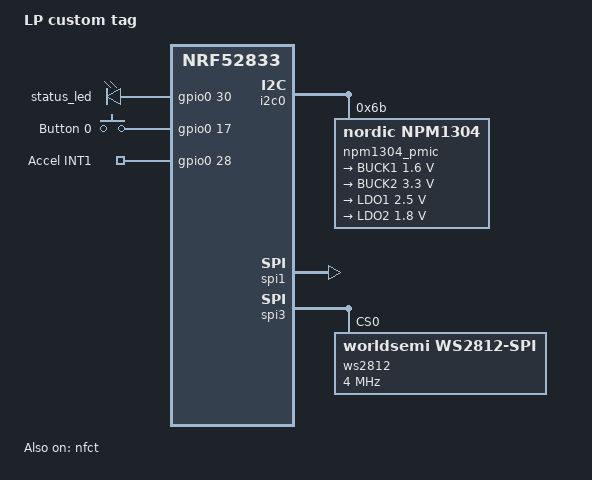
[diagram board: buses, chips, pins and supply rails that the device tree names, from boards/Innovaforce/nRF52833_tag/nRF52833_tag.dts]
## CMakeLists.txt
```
cmake_minimum_required(VERSION 3.20.0)
find_package(Zephyr REQUIRED HINTS $ENV{ZEPHYR_BASE})

project(tag_testting)

target_sources(app PRIVATE
    src/main.c
    src/ble_log.c
    src/batt.c
    src/batt_curve.c
    src/batt_window.c
    src/lis2hh12_if.c
    src/uwb.c
    src/nfc_tag.c
    src/phy_config.c
    src/cal_math.c
    src/cal.c
    src/storage.c
    src/pos_solver.c
    src/pos_residual.c
    src/pos_ekf.c
    src/pos_cfg.c
    # TEMPORARY: raw-range capture for EKF tuning. Delete this line with the
    # module -- see spec/2026-08-22-position-filtering-design.md.
    src/pos_dbg.c
    src/uwb_ss_initiator.c
    src/tag_alert.c
    src/motion.c
    src/tag_ui.c
    src/tag_ui_color.c
    src/uwb_frame_802_15_4z.c
    src/alert_relay.c
    src/tag_alert_core.c
    src/uwb_net.c
    src/uwb_net_runner.c
    src/anchor_pool_core.c
    src/uwb_radio_owner.c
    src/tag_cmd.c
    src/rx_stats_core.c
    src/rx_stats.c
    src/beacon_track_core.c
    src/beacon_sched_core.c
    src/scan_backoff_core.c
    src/wdt.c
    drivers/lis2hh12-pid/lis2hh12_reg.c
    platform/port.c
    platform/deca_spi.c
    platform/deca_probe_interface.c
    platform/deca_mutex.c
    platform/deca_sleep.c
)

target_sources_ifdef(CONFIG_TAG_CAL_MODE app PRIVATE
    src/cal_diag.c
    src/cal_led.c
    src/cal_run_math.c
    src/cal_run.c
)

target_include_directories(app PRIVATE
    drivers/lis2hh12-pid
    platform
    Shared/dwt_uwb_driver/Inc
)

# The precompiled Decawave archive registers per-chip drivers into the
# .dw_drivers linker section via static objects. Nothing in app code references
# them directly, so the linker would skip those .o files and the section ends
# up empty. Force-pull dw3000_driver via --undefined; this drags in its .o
# (and the .dw_drivers entries it carries) without --whole-archive.
add_library(dwt_uwb_driver STATIC IMPORTED GLOBAL)
set_target_properties(dwt_uwb_driver PROPERTIES
    IMPORTED_LOCATION
    ${CMAKE_CURRENT_SOURCE_DIR}/Shared/dwt_uwb_driver/lib/libdwt_uwb_driver-m4-sfp-6.0.7.a
)
target_link_libraries(app PRIVATE
    dwt_uwb_driver
)
zephyr_ld_options(-Wl,--undefined=dw3000_driver)

zephyr_linker_sources(SECTIONS ${CMAKE_CURRENT_SOURCE_DIR}/dw_drivers.ld)
```

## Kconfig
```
menu "Tag firmware"

config TAG_CAL_MODE
	bool "Antenna-delay calibration firmware"
	help
	  Build the calibration image instead of the production tag.

	  main() does not start the MAC runner, so nothing opens the receiver
	  and nothing deep-sleeps the DW3000: the image is idle until a `cal`
	  command arrives over NUS. Adds `cal listen` and `cal probe`.

	  Never ship this. It holds no network seat and reports no position.

config TAG_SWEEP_TIMING
	bool "Measure MULTI-POLL through EA (bench only)"
	depends on PRINTK
	help
	  Emit one timing record after each sweep. Suppresses hot-path
	  SWEEP/MPOL printk probes. Does not change radio deadlines.

endmenu

source "Kconfig.zephyr"
```

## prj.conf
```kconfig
CONFIG_BT=y
CONFIG_BT_HCI=y
CONFIG_BT_PERIPHERAL=y
CONFIG_BT_DEVICE_NAME="nRF52_Tag"
CONFIG_BT_NUS=y
CONFIG_I2C=y
CONFIG_SENSOR=y
# nPM1304 PMIC: needed so the BUCK/LDO rails are applied at boot.
CONFIG_REGULATOR=y
# nPM1304 LED0 in hardware "charging" mode; the driver only writes the mode
# register at init, nothing calls into it at runtime.
CONFIG_LED=y
CONFIG_NFC_T4T_NRFXLIB=y
CONFIG_NFC_NDEF=y
CONFIG_NFC_NDEF_MSG=y
CONFIG_NFC_NDEF_RECORD=y
CONFIG_NFC_NDEF_URI_REC=y
CONFIG_NFC_NDEF_URI_MSG=y
CONFIG_NFC_NDEF_PARSER=y
CONFIG_FLASH=y
CONFIG_FLASH_MAP=y
CONFIG_NVS=y
CONFIG_GPIO=y
CONFIG_FPU=y
# Soft-float calling convention: the FPU still runs the LLS math, but float args
# pass in core registers so the image links against the soft-float precompiled
# DW3000 driver (libdwt_uwb_driver-m4-sfp). FP_HARDABI breaks that link.
CONFIG_FP_SOFTABI=y
CONFIG_CMSIS_DSP=y
CONFIG_CMSIS_DSP_MATRIX=y
CONFIG_WATCHDOG=y
CONFIG_TASK_WDT=y
# Fill thread stacks with a pattern at creation so k_thread_stack_space_get()
# can report a high-water mark (the `stack` NUS command). Diagnostic aid for the
# deep calibration path; costs a little boot time. Drop it once the calibration
# stack question is settled.
CONFIG_INIT_STACKS=y
# CONFIG_ASSERT is deliberately NOT enabled here; it lives in debug.conf.
#
# It did its job -- it is how the calibration crash was pinned down -- but it
# cannot stay on in this firmware as it stands. dwt_isr() runs in the GPIO ISR
# and reaches the DW3000 through readfromspi()/writetospi(), which call
# k_mutex_lock() and spi_transceive(). Both carry an UNCONDITIONAL
# __ASSERT(!arch_is_in_isr(), ...) that sits above their non-blocking fast
# paths, so with asserts on, every single DW3000 interrupt panics the kernel.
# Moving dwt_isr() out of the ISR to satisfy them was tried and reverted: it
# cut accepted ranges to 1 in 100 (see deca_irq_handler in platform/port.c).
#
# What makes the ISR path safe in practice is that spi_mutex is never
# contended: wait_event() drains the device with the IRQ masked and only arms
# it while parked in k_sem_take(), where the thread holds no SPI state. The
# uncontended k_mutex_lock() fast path never pends. That is a real invariant,
# not luck -- but it is an invariant the assert cannot see.
#
# The proper fix is an ISR-safe SPI path (polled transfer when k_is_in_isr()),
# after which this can be turned back on permanently.
# DISABLED 2026-09-08. Power management made the tag miss beacons while
# sleeping on the TDoA branch, and the same console shows three
# "pm_device: Unbalanced suspend" warnings every superframe here. It is NOT
# the cause of the JOIN transmit failure fixed on this branch -- that was a
# receiver left armed by uwb_radio_rx_beacon()'s timeout path, and disabling
# PM was tested against it and changed nothing -- but with the tag now
# actually sleeping between granted phases, missed beacons are exactly the
# failure mode PM produced before. Re-enable only with beacon-miss counts
# measured on hardware, and note CONFIG_PM never actually took effect even
# when set: it reads absent from the generated .config, so the paragraphs
# below describe behaviour that was not happening.
# CONFIG_PM=y
# CONFIG_PM alone never touches the peripherals: without PM_DEVICE the
# `pinctrl-1 = <&..._sleep>` states already defined in the board DTS are dead
# text and SPIM3 / TWIM0 stay clocked forever. PM_DEVICE_RUNTIME is what makes
# the nrfx SPIM/TWIM drivers suspend between transfers -- they already call
# pm_device_runtime_get/put around every transaction; the DTS
# `zephyr,pm-device-runtime-auto` on &spi3 and &i2c0 is what arms it.
#
# SPI1 (DW3000) deliberately does NOT get the DTS property: its path is driven
# from the GPIO ISR via dwt_isr(), and suspend/resume is not safe there.
# pm_device_runtime_get() is a no-op on a device that never had runtime PM
# enabled, so leaving the property off is enough to keep SPI1 exactly as it is.
# Disabled with CONFIG_PM above -- these two are the ones that were actually
# in effect, and the source of the "Unbalanced suspend" warnings.
# CONFIG_PM_DEVICE=y
# CONFIG_PM_DEVICE_RUNTIME=y
```

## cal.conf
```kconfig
CONFIG_TAG_CAL_MODE=y

# A halt during a calibration run must stay halted. task_wdt's hardware
# fallback (TASK_WDT_MIN_TIMEOUT 100 + TASK_WDT_HW_FALLBACK_DELAY 20) arms the
# nRF52833 watchdog at ~120 ms, so the last time `cal` faulted the reset looked
# like an instant reboot and hid the crash entirely.
CONFIG_TASK_WDT=n
CONFIG_WATCHDOG=n
```

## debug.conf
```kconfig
# Debug overlay — build with:
#   west build -b nRF52833_tag -- -DEXTRA_CONF_FILE=debug.conf
#
# Purpose: make the firmware survivable under a debugger. Do NOT ship this.

# The blocker for GDB. tag_wdt_start_boot_guard() registers a task_wdt channel
# with a NULL callback, and Zephyr's task_wdt_trigger() answers an expired
# channel with sys_reboot(SYS_REBOOT_COLD). Halting at a breakpoint for longer
# than the 10 s channel therefore reboots the tag as soon as it resumes, so the
# debugger only ever prints "external reset detected" and no breakpoint is
# reached. (The ~120 ms hardware fallback does pause while halted, via
# WDT_OPT_PAUSE_HALTED_BY_DBG — it is this software channel that does not.)
# src/wdt.c compiles the whole boot guard out when this is n.
CONFIG_TASK_WDT=n
CONFIG_WATCHDOG=n

# WARNING: with dwt_isr() dispatched from the GPIO ISR, CONFIG_ASSERT=y makes
# EVERY DW3000 interrupt panic the kernel -- k_mutex_lock() and spi_transceive()
# both carry an unconditional __ASSERT(!arch_is_in_isr(), ...) above their
# non-blocking fast paths. So this build cannot range. It is still the right
# build for catching a *different* illegal-API bug, or for GDB work where the
# radio does not need to run. For anything involving ranging or calibration,
# build without this overlay. See the long note in prj.conf.
CONFIG_ASSERT=y
CONFIG_INIT_STACKS=y

# Callee-saved registers in the exception frame. Costs a little RAM per fault
# but makes a post-mortem backtrace far more likely to unwind correctly.
CONFIG_EXTRA_EXCEPTION_INFO=y
```

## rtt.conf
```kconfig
# RTT console overlay — build with:
#   west build -b nRF52833_tag --pristine -d build_rtt -- "-DEXTRA_CONF_FILE=rtt.conf"
#
# Purpose: see the tag's boot. The board defconfig turns the console off
# entirely (CONFIG_SERIAL/CONSOLE/UART_CONSOLE/LOG all =n) and the DTS has no
# zephyr,console chosen node, so UART is not available without pin work. RTT
# rides the SWD link the J-Link runner already uses, so it needs no extra
# wiring. Read it with JLinkRTTViewer.
#
# This is deliberately NOT debug.conf. That overlay sets CONFIG_ASSERT=y, which
# — by its own warning — makes every DW3000 interrupt panic the kernel, because
# dwt_isr() runs from the GPIO ISR and k_mutex_lock()/spi_transceive() both
# assert !arch_is_in_isr(). A build with debug.conf cannot range, so it cannot
# be used to diagnose a radio that is failing to receive.

CONFIG_CONSOLE=y
CONFIG_PRINTK=y
CONFIG_USE_SEGGER_RTT=y
CONFIG_RTT_CONSOLE=y

CONFIG_LOG=y
CONFIG_LOG_BACKEND_RTT=y
# Immediate mode: a bring-up failure ends in k_sleep(K_FOREVER), and a deferred
# backend's flush thread may never run to drain the message that explains why.
CONFIG_LOG_MODE_IMMEDIATE=y

# The boot guard registers a task_wdt channel with a NULL callback, so an
# expired channel reboots cold. On the uwb_init() failure path main() never
# reaches tag_wdt_run_feeder(), so the channel always expires: the tag reboots
# roughly every 10 s and the failure scrolls past instead of standing still.
CONFIG_TASK_WDT=n
CONFIG_WATCHDOG=n

# NOTE: power management was tested here as the cause of TXFRS never arriving
# and RULED OUT -- CONFIG_PM/PM_DEVICE/PM_DEVICE_RUNTIME=n changed nothing, the
# transmit still failed on every attempt. Left out deliberately so this overlay
# does not perturb power behaviour. The "pm_device: Unbalanced suspend" warnings
# are real but unrelated to the transmit fault; they were merely invisible until
# this overlay turned logging on.
```

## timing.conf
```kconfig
# Add after rtt.conf: -DEXTRA_CONF_FILE="rtt.conf;timing.conf"
CONFIG_TAG_SWEEP_TIMING=y
# Drop diagnostic output if host is absent; never wait for RTT drainage.
CONFIG_SEGGER_RTT_MODE_NO_BLOCK_SKIP=y
CONFIG_RTT_TX_RETRY_CNT=0
CONFIG_LOG_PRINTK=n
CONFIG_LOG_BACKEND_RTT_MODE_DROP=y
```

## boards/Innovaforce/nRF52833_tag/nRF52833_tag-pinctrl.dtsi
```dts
&pinctrl {
	i2c0_default: i2c0_default {
		group1 {
			psels = <NRF_PSEL(TWIM_SDA, 0, 2)>,
				<NRF_PSEL(TWIM_SCL, 0, 3)>;
		};
	};

	i2c0_sleep: i2c0_sleep {
		group1 {
			psels = <NRF_PSEL(TWIM_SDA, 0, 2)>,
				<NRF_PSEL(TWIM_SCL, 0, 3)>;
			low-power-enable;
		};
	};

	spi1_default: spi1_default {
		group1 {
			psels = <NRF_PSEL(SPIM_SCK, 0, 4)>,
				<NRF_PSEL(SPIM_MISO, 0, 5)>,
				<NRF_PSEL(SPIM_MOSI, 1, 9)>;
		};
	};

	spi1_sleep: spi1_sleep {
		group1 {
			psels = <NRF_PSEL(SPIM_SCK, 0, 4)>,
				<NRF_PSEL(SPIM_MISO, 0, 5)>,
				<NRF_PSEL(SPIM_MOSI, 1, 9)>;
			low-power-enable;
		};
	};

	spi3_default: spi3_default {
		group1 {
			psels = <NRF_PSEL(SPIM_MOSI, 0, 20)>;
		};
	};

	spi3_sleep: spi3_sleep {
		group1 {
			psels = <NRF_PSEL(SPIM_MOSI, 0, 20)>;
			low-power-enable;
		};
	};

};
```

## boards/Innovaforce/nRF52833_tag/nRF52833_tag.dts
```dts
/dts-v1/;
#include <nordic/nrf52833_qdaa.dtsi>
#include <zephyr/dt-bindings/led/led.h>
#include <dt-bindings/regulator/npm13xx.h>
#include "nRF52833_tag-pinctrl.dtsi"

/ {
	model = "LP custom tag";
	compatible = "Innovaforce,nRF52833-tag";

	chosen {
		zephyr,sram = &sram0;
		zephyr,flash = &flash0;
		zephyr,code-partition = &slot0_partition;
	};

	aliases {
		led0 = &status_led;
		led-strip = &ws2812;
		button0 = &user_button;
	};


	leds {
		compatible = "gpio-leds";
		status_led: led_0 {
			gpios = <&gpio0 30 GPIO_ACTIVE_HIGH>;
		};
	};

	buttons {
		compatible = "gpio-keys";
		user_button: button_0 {
			gpios = <&gpio0 17 GPIO_ACTIVE_HIGH>;
			label = "Button 0";
		};
		accel_int: accel_int_0 {
			gpios = <&gpio0 28 GPIO_ACTIVE_HIGH>;
			label = "Accel INT1";
		};
	};
};

&flash0 {
	partitions {
		compatible = "fixed-partitions";
		#address-cells = <1>;
		#size-cells = <1>;

		boot_partition: partition@0 {
			label = "mcuboot";
			reg = <0x00000000 DT_SIZE_K(48)>;
		};

		slot0_partition: partition@c000 {
			label = "image-0";
			reg = <0x0000c000 DT_SIZE_K(220)>;
		};

		slot1_partition: partition@43000 {
			label = "image-1";
			reg = <0x00043000 DT_SIZE_K(220)>;
		};

		storage_partition: partition@7a000 {
			label = "storage";
			reg = <0x0007a000 DT_SIZE_K(24)>;
		};
	};
};

&nfct {
	status = "okay";
};

&gpiote {
	status = "okay";
};

&gpio0 {
	status = "okay";
};

&gpio1 {
	status = "okay";
};

&i2c0 {
	compatible = "nordic,nrf-twim";
	status = "okay";
	pinctrl-0 = <&i2c0_default>;
	pinctrl-1 = <&i2c0_sleep>;
	pinctrl-names = "default", "sleep";
	/* Suspend TWIM0 between transactions (battery sampler, accelerometer
	 * register writes). The driver already brackets every transfer with
	 * pm_device_runtime_get/put; this is what enables it.
	 * Disabled 2026-09-01 alongside CONFIG_PM_DEVICE_RUNTIME in prj.conf --
	 * see that comment. This is the nPM1304 bus (batt_soc_cached() reads
	 * it), and multi-second runner-loop stalls landed exactly where BLINK
	 * frames pull battery SOC. */
	/* zephyr,pm-device-runtime-auto; */

	/* nPM1304 PMIC. No GPIO lines are wired between the nPM1304 and the
	 * nRF52833, so no host-int-gpios / pmic-int-pin properties are set;
	 * the charger is read by polling only. */
	npm1304_pmic: pmic@6b {
		compatible = "nordic,npm1304";
		reg = <0x6b>;

		regulators {
			compatible = "nordic,npm1304-regulator";

			BUCK1 {
				regulator-min-microvolt = <1600000>;
				regulator-max-microvolt = <1600000>;
				regulator-boot-on;
			};

			BUCK2 {
				regulator-min-microvolt = <3300000>;
				regulator-max-microvolt = <3300000>;
				regulator-boot-on;
			};

			LDO1 {
				regulator-min-microvolt = <2500000>;
				regulator-max-microvolt = <2500000>;
				regulator-initial-mode = <NPM13XX_LDSW_MODE_LDO>;
				regulator-boot-on;
			};

			LDO2 {
				regulator-min-microvolt = <1800000>;
				regulator-max-microvolt = <1800000>;
				regulator-initial-mode = <NPM13XX_LDSW_MODE_LDO>;
				regulator-boot-on;
			};
		};

		/* LED0 drives the charge-status LED on the board. In "charging"
		 * mode the PMIC lights it itself from the charger block, so no
		 * firmware, thread or I2C polling is involved. LED1 and LED2 are
		 * not wired, but the binding requires all three modes; "host"
		 * leaves them software-controlled and dark. */
		npm1304_leds: leds {
			compatible = "nordic,npm1304-led";
			nordic,led0-mode = "charging";
			nordic,led1-mode = "host";
			nordic,led2-mode = "host";
		};

		/* 100 mA into the 400 mAh cell is 0.25C. Revisit current-microamp
		 * when the cell changes.
		 *
		 * thermistor-ohms = 0 disables the NTC because the pad is not
		 * exposed on this PCB, so the PMIC cannot read cell temperature
		 * and charging runs with no thermal cutoff. That is a hardware
		 * constraint, not a missing setting — do not "fix" it here.
		 *
		 * charging-enable is what actually switches the charger on;
		 * without it the block is configured but idle and the battery
		 * current reads 0 mA with VBUS connected. */
		npm1304_charger: charger {
			compatible = "nordic,npm1304-charger";
			charging-enable;
			term-microvolt = <4200000>;
			current-microamp = <100000>;
			vbus-limit-microamp = <500000>;
			thermistor-ohms = <0>;
			thermistor-beta = <0>;
		};
	};
};

&spi1 {
	compatible = "nordic,nrf-spim";
	status = "okay";
	pinctrl-0 = <&spi1_default>;
	pinctrl-1 = <&spi1_sleep>;
	pinctrl-names = "default", "sleep";
	cs-gpios = <&gpio0 11 GPIO_ACTIVE_LOW>;
};

&spi3 {
	compatible = "nordic,nrf-spim";
	status = "okay";
	pinctrl-0 = <&spi3_default>;
	pinctrl-1 = <&spi3_sleep>;
	pinctrl-names = "default", "sleep";
	/* Suspend SPIM3 except during a WS2812 write. The LED is dark in normal
	 * operation, so this bus is idle essentially all the time.
	 * Deliberately NOT applied to &spi1 -- the DW3000 path runs from the
	 * GPIO ISR and must not take suspend/resume there.
	 * Disabled 2026-09-01 alongside &i2c0 and CONFIG_PM_DEVICE_RUNTIME in
	 * prj.conf -- see that comment. */
	/* zephyr,pm-device-runtime-auto; */

	ws2812: ws2812@0 {
		compatible = "worldsemi,ws2812-spi";
		reg = <0>;
		spi-max-frequency = <4000000>;
		chain-length = <1>;
		color-mapping = <LED_COLOR_ID_GREEN
				 LED_COLOR_ID_RED
				 LED_COLOR_ID_BLUE>;
		spi-one-frame = <0x70>;
		spi-zero-frame = <0x40>;
	};
};
```

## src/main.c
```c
#include <stdio.h>
#include <zephyr/kernel.h>
#include <zephyr/device.h>
#include <zephyr/drivers/led_strip.h>
#include <zephyr/sys/byteorder.h>
#include <hal/nrf_ficr.h>
#include "ble_log.h"
#include "batt.h"
#include "uwb.h"
#include "uwb_ss_initiator.h"
#include "uwb_net_runner.h"
#include "motion.h"
#include "tag_ui.h"
#include "cal.h"
#include "tag_alert.h"
#include "tag_cmd.h"
#include "rx_stats.h"
#include "wdt.h"
#include "storage.h"
#include "nfc_tag.h"
#include "pos_cfg.h"
#include "blink_cfg.h"
#ifdef CONFIG_TAG_CAL_MODE
#include "uwb_radio_owner.h"
#include "cal_diag.h"
#include "cal_led.h"
#include "cal_run.h"
#endif

static const struct device *strip = DEVICE_DT_GET(DT_ALIAS(led_strip));

int main(void)
{
    if (!device_is_ready(strip)) {
        k_sleep(K_FOREVER);
        return 0;
    }

    if (ble_log_init() != 0) {
        k_sleep(K_FOREVER);
        return 0;
    }

#ifdef CONFIG_TAG_CAL_MODE
    /* The cal image starts neither tag_ui_init() (button) nor nfc_tag_init()
     * (NFC), which are the production image's only two ways to open the 60 s
     * advertising window -- and the `pwr adv on` NUS command that would also
     * force it is itself unreachable without an existing connection. With no
     * trigger at all, ble_log_init()'s "no advertising at boot" default would
     * leave this image permanently invisible. Force continuous advertising
     * for the whole bench session instead. */
    ble_log_adv_force(true);
#endif

    ble_log_set_state_cb(batt_on_ble_state);
    if (storage_init() != 0) {
        ble_log_send("STOR fail\n");
    }

    /* Arm the boot-guard watchdog: if DW3000 bring-up hangs or fails, the
     * watchdog is never fed and the SoC resets in ~10 s, retrying the boot. */
    tag_wdt_start_boot_guard();

    if (uwb_init(3) == 0) {
        ble_log_send("Config OK\n");

#ifndef CONFIG_TAG_CAL_MODE
        uint8_t eui[8];
        sys_put_le32(NRF_FICR->DEVICEID[0], &eui[0]);
        sys_put_le32(NRF_FICR->DEVICEID[1], &eui[4]);
#endif

        if (cal_init()) {
            ble_log_send("CAL loaded\n");
        } else {
            ble_log_send("CAL REQUIRED\n");
        }
#ifndef CONFIG_TAG_CAL_MODE
        /* Anchor/tag height for the 3D range model. Must run before the
         * runner starts building measurements. Falls back to compiled
         * defaults when NVS holds nothing -- read back with `pos z`, since
         * anything sent here is dropped (no central is connected at boot).
         * Production image only -- the cal image never starts the runner. */
        pos_cfg_init();
        blink_cfg_init();

        if (nfc_tag_init() != 0) {
            ble_log_send("NFC fail\n");
        }
#endif
        tag_cmd_init();
        rx_stats_reset();
#ifdef CONFIG_TAG_CAL_MODE
        uwb_radio_owner_set_unmanaged();
#else
        tag_alert_init();
#endif
        uwb_ss_initiator_start();
#ifdef CONFIG_TAG_CAL_MODE
        cal_diag_start();
        cal_run_start();
        cal_led_init(strip);
#else
        uwb_net_runner_start(eui);
        if (motion_init() != 0) {
            ble_log_send("motion init fail\n");
        }
        tag_ui_init();
        batt_monitor_start();
#endif
        tag_wdt_run_feeder();
    } else {
        /* Red: fatal DW3000 init failure — the only signal with no BLE. */
        struct led_rgb pixel = (struct led_rgb){.r = 10, .g = 0, .b = 0};
        led_strip_update_rgb(strip, &pixel, 1);
        ble_log_send("DW3000: init failed\n");
    }

    k_sleep(K_FOREVER);
    return 0;
}
```

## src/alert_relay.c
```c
#include "alert_relay.h"
#include <string.h>

/* ---- duplicate suppression ------------------------------------------- */

void alert_dedup_reset(struct alert_dedup *d)
{
    memset(d, 0, sizeof(*d));
}

static bool dedup_key_eq(const struct alert_dedup_entry *e, const struct uwb_alert *a)
{
    return memcmp(e->eui, a->orig_eui, 8) == 0 &&
           e->epoch == a->epoch &&
           e->state == a->state &&
           e->repeat_seq == a->repeat_seq;
}

bool alert_dedup_admit(struct alert_dedup *d, const struct uwb_alert *a, uint32_t now_ms)
{
    int free_idx   = -1;
    int oldest_idx = 0;
    int32_t oldest_age = -1;

    for (int i = 0; i < ALERT_DEDUP_N; i++) {
        struct alert_dedup_entry *e = &d->e[i];

        if (!e->used) {
            if (free_idx < 0) {
                free_idx = i;
            }
            continue;
        }

        int32_t age = (int32_t)(now_ms - e->seen_ms);
        bool aged_out = age >= (int32_t)ALERT_DEDUP_AGE_MS;

        if (dedup_key_eq(e, a) && !aged_out) {
            return false;   /* duplicate: drop */
        }
        if (aged_out && free_idx < 0) {
            free_idx = i;   /* stale slot, free for reuse */
        }
        if (age > oldest_age) {
            oldest_age = age;
            oldest_idx = i;
        }
    }

    int idx = (free_idx >= 0) ? free_idx : oldest_idx;
    struct alert_dedup_entry *ne = &d->e[idx];

    memcpy(ne->eui, a->orig_eui, 8);
    ne->epoch      = a->epoch;
    ne->state      = a->state;
    ne->repeat_seq = a->repeat_seq;
    ne->seen_ms    = now_ms;
    ne->used       = true;
    return true;
}

/* ---- relay decision (anchors only) ------------------------------------ */

bool alert_should_relay(const struct uwb_alert *a, uint8_t my_hop, bool is_gateway)
{
    if (is_gateway) {
        return false;
    }
    if (a->ttl == 0) {
        return false;
    }
    if (my_hop == UWB_ALERT_HOP_UNKNOWN) {
        return true;
    }
    return a->sender_hop > my_hop;
}

void alert_prepare_relay(struct uwb_alert *a, uint8_t my_hop)
{
    a->sender_hop = my_hop;
    a->ttl--;
}

/* ---- gateway latch ----------------------------------------------------- */

void alert_latch_reset(struct alert_latch *l)
{
    memset(l, 0, sizeof(*l));
}

static struct alert_latch_entry *latch_find_or_alloc(struct alert_latch *l,
                                                      const uint8_t eui[8],
                                                      uint32_t now_ms)
{
    int free_idx   = -1;
    int oldest_idx = 0;
    uint32_t oldest_ms = 0xFFFFFFFFu;

    for (int i = 0; i < ALERT_LATCH_N; i++) {
        struct alert_latch_entry *e = &l->e[i];

        if (e->used && memcmp(e->eui, eui, 8) == 0) {
            return e;
        }
        if (!e->used && free_idx < 0) {
            free_idx = i;
        }
        if (e->used && e->last_heard_ms < oldest_ms) {
            oldest_ms  = e->last_heard_ms;
            oldest_idx = i;
        }
    }

    int idx = (free_idx >= 0) ? free_idx : oldest_idx;
    struct alert_latch_entry *ne = &l->e[idx];

    memset(ne, 0, sizeof(*ne));
    memcpy(ne->eui, eui, 8);
    ne->used          = true;
    ne->last_heard_ms = now_ms;
    return ne;
}

alert_latch_res_t alert_latch_apply(struct alert_latch *l, const struct uwb_alert *a,
                                    uint32_t now_ms)
{
    struct alert_latch_entry *e = latch_find_or_alloc(l, a->orig_eui, now_ms);
    bool is_help = (a->state & UWB_ALERT_STATE_HELP) != 0;

    if (!is_help) {
        /* CANCEL: always clears, even with no prior HELP for this epoch. */
        e->active         = false;
        e->epoch          = a->epoch;
        e->have_epoch     = true;
        e->last_cancelled = a->epoch;
        e->have_cancelled = true;
        e->last_heard_ms  = now_ms;
        return ALERT_LATCH_CLEARED;
    }

    if (e->have_cancelled && a->epoch == e->last_cancelled) {
        /* Stale in-flight HELP for an already-cancelled epoch. */
        return ALERT_LATCH_IGNORED;
    }

    if (e->active && a->epoch == e->epoch) {
        e->last_heard_ms = now_ms;
        return ALERT_LATCH_REFRESHED;
    }

    if (!e->have_epoch || (int8_t)(a->epoch - e->epoch) > 0) {
        e->active        = true;
        e->epoch         = a->epoch;
        e->have_epoch    = true;
        e->last_heard_ms = now_ms;
        return ALERT_LATCH_RAISED;
    }

    /* Older/stale epoch that is neither the active one nor the cancelled
     * one: drop rather than move the latch backwards. */
    return ALERT_LATCH_IGNORED;
}
```

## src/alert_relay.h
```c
#ifndef ALERT_RELAY_H
#define ALERT_RELAY_H

/*
 * Pure dedup cache, gradient relay decision, and gateway latch ordering for
 * the 0xEE ALERT frame (0xEB until this change -- it collided with the anchor
 * survey's APOS_FRAME_TYPE; see uwb_frame_802_15_4z.h). See spec/2026-08-16-uwb-help-alert-design.md §3/§6.
 *
 * This module is meant to be compiled into BOTH the tag and the anchor/
 * gateway firmware unchanged -- the epoch-ordering rules in §3 and the relay
 * rules in §6 are exactly the kind of thing that drifts between two
 * independently written implementations. Do not hand-reimplement any of this
 * on the anchor.
 */

#include <stdint.h>
#include <stdbool.h>
#include "uwb_frame_802_15_4z.h"   /* struct uwb_alert */

/* Dedup cache sizing (design §6.2). */
#define ALERT_DEDUP_N       16
#define ALERT_DEDUP_AGE_MS  30000u

/* Gateway latch table sizing: one entry per originator EUI the gateway has
 * ever seen an alert from. Not part of the design's tuning-constant list
 * (that list is tag-side); sized generously for a bench/small-fleet gateway. */
#define ALERT_LATCH_N       32

/* --- duplicate suppression --- */
struct alert_dedup_entry {
    uint8_t  eui[8];
    uint8_t  epoch, state, repeat_seq;
    uint32_t seen_ms;
    bool     used;
};
struct alert_dedup {
    struct alert_dedup_entry e[ALERT_DEDUP_N];
};

void alert_dedup_reset(struct alert_dedup *d);
/* true = first time seen (caller proceeds); false = duplicate, drop. Inserts
 * on true. Key is (eui, epoch, state, repeat_seq); entries older than
 * ALERT_DEDUP_AGE_MS are free for reuse; a full cache evicts the oldest. */
bool alert_dedup_admit(struct alert_dedup *d, const struct uwb_alert *a, uint32_t now_ms);

/* --- relay decision (anchors only) --- */
bool alert_should_relay(const struct uwb_alert *a, uint8_t my_hop, bool is_gateway);
/* Rewrites sender_hop/ttl in place for the outgoing copy. Call only if
 * alert_should_relay() returned true. Touches nothing else in *a. */
void alert_prepare_relay(struct uwb_alert *a, uint8_t my_hop);

/* --- gateway latch --- */
struct alert_latch_entry {
    uint8_t  eui[8];
    uint8_t  epoch, last_cancelled;
    bool     active, have_cancelled;
    uint32_t last_heard_ms;
    bool     used;        /* slot allocated */
    bool     have_epoch;  /* epoch has been set by at least one HELP/CANCEL --
                            * without this, a brand-new entry's first HELP at
                            * a high epoch value would lose the serial-newer
                            * compare against the implicit epoch==0 default. */
};
struct alert_latch {
    struct alert_latch_entry e[ALERT_LATCH_N];
};

typedef enum {
    ALERT_LATCH_IGNORED,
    ALERT_LATCH_RAISED,
    ALERT_LATCH_REFRESHED,
    ALERT_LATCH_CLEARED,
} alert_latch_res_t;

void alert_latch_reset(struct alert_latch *l);
/* Epoch comparison is serial arithmetic, (int8_t)(a - b) > 0 -- see design
 * §3. HELP for epoch == last_cancelled -> IGNORED. HELP matching an active
 * epoch -> REFRESHED (last-heard timestamp only). A newer HELP -> RAISED.
 * CANCEL -> CLEARED and records last_cancelled, even with no prior HELP for
 * that epoch. */
alert_latch_res_t alert_latch_apply(struct alert_latch *l, const struct uwb_alert *a,
                                    uint32_t now_ms);

#endif /* ALERT_RELAY_H */
```

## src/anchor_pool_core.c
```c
#include "anchor_pool_core.h"
#include <string.h>

#define EMA_ALPHA  0.3f
#define EMA_DECAY  0.5f

void anchor_pool_init(struct anchor_pool *p)
{
    memset(p, 0, sizeof(*p));
}

void anchor_pool_begin_round(struct anchor_pool *p)
{
    for (int i = 0; i < ANCHOR_POOL_MAX; i++) {
        p->entries[i].seen = false;
    }
}

static int find_valid(struct anchor_pool *p, uint8_t id)
{
    for (int i = 0; i < ANCHOR_POOL_MAX; i++) {
        if (p->entries[i].valid && p->entries[i].id == id) {
            return i;
        }
    }
    return -1;
}

static int find_free(struct anchor_pool *p)
{
    for (int i = 0; i < ANCHOR_POOL_MAX; i++) {
        if (!p->entries[i].valid) {
            return i;
        }
    }
    return -1;
}

static int find_worst(struct anchor_pool *p)
{
    int worst = 0;
    for (int i = 1; i < ANCHOR_POOL_MAX; i++) {
        if (p->entries[i].ema_score < p->entries[worst].ema_score) {
            worst = i;
        }
    }
    return worst;
}

void anchor_pool_observe_score(struct anchor_pool *p, uint8_t id, float score,
                               uint32_t now_ms)
{
    int i = find_valid(p, id);
    if (i >= 0) {
        p->entries[i].ema_score = EMA_ALPHA * score +
                                  (1.0f - EMA_ALPHA) * p->entries[i].ema_score;
        p->entries[i].seen = true;
        p->entries[i].last_seen_ms = now_ms;
        return;
    }

    i = find_free(p);
    if (i < 0) {
        i = find_worst(p);
    }
    p->entries[i].id           = id;
    p->entries[i].ema_score    = score;
    p->entries[i].valid        = true;
    p->entries[i].seen         = true;
    p->entries[i].last_seen_ms = now_ms;
    /* A fresh (or evicted-and-reused) slot has no learned position until an
     * ANNOUNCE says otherwise. */
    p->entries[i].have_pos     = false;
}

void anchor_pool_observe_pos(struct anchor_pool *p, uint8_t id,
                             float x, float y, float z, uint32_t now_ms)
{
    int i = find_valid(p, id);
    if (i < 0) {
        i = find_free(p);
        if (i < 0) {
            /* No ranging value yet and no room -- do not evict a
             * CIR-ranked entry to make space for one. */
            return;
        }
        p->entries[i].id        = id;
        p->entries[i].ema_score = 0.0f;
        p->entries[i].valid     = true;
    }
    p->entries[i].x           = x;
    p->entries[i].y           = y;
    p->entries[i].z           = z;
    p->entries[i].have_pos    = true;
    p->entries[i].seen        = true;
    p->entries[i].last_seen_ms = now_ms;
}

void anchor_pool_decay_missed(struct anchor_pool *p)
{
    for (int i = 0; i < ANCHOR_POOL_MAX; i++) {
        if (p->entries[i].valid && !p->entries[i].seen) {
            p->entries[i].ema_score *= EMA_DECAY;
        }
    }
}

void anchor_pool_expire_stale(struct anchor_pool *p, uint32_t now_ms)
{
    for (int i = 0; i < ANCHOR_POOL_MAX; i++) {
        if (!p->entries[i].valid) {
            continue;
        }
        /* Unsigned subtraction: correct across a uint32_t wrap, same pattern
         * as uwb_net.c's lease_age(). */
        if (now_ms - p->entries[i].last_seen_ms > ANCHOR_ENTRY_STALE_MS) {
            memset(&p->entries[i], 0, sizeof(p->entries[i]));
        }
    }
}

uint8_t anchor_pool_select(const struct anchor_pool *p, uint8_t *out, uint8_t max_out)
{
    uint8_t order[ANCHOR_POOL_MAX];
    uint8_t count = 0;

    for (int i = 0; i < ANCHOR_POOL_MAX; i++) {
        if (p->entries[i].valid) {
            order[count++] = (uint8_t)i;
        }
    }

    /* Insertion sort descending by ema_score (pool is small, O(n^2) is fine). */
    for (int i = 1; i < count; i++) {
        uint8_t key = order[i];
        int j = i - 1;
        while (j >= 0 &&
               p->entries[order[j]].ema_score < p->entries[key].ema_score) {
            order[j + 1] = order[j];
            j--;
        }
        order[j + 1] = key;
    }

    uint8_t n = (count < max_out) ? count : max_out;
    for (uint8_t i = 0; i < n; i++) {
        out[i] = p->entries[order[i]].id;
    }
    return n;
}

uint8_t anchor_pool_live_count(const struct anchor_pool *p)
{
    uint8_t count = 0;
    for (int i = 0; i < ANCHOR_POOL_MAX; i++) {
        if (p->entries[i].valid) {
            count++;
        }
    }
    return count;
}
```

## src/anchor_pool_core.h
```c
#ifndef ANCHOR_POOL_CORE_H
#define ANCHOR_POOL_CORE_H

#include <stdint.h>
#include <stdbool.h>

/* Pure anchor-pool bookkeeping shared by discovery (CIR-ranked) and passive
 * ANNOUNCE learning (geometry). No Zephyr, no radio -- host-tested in
 * tests/anchor_pool/. See spec/2026-09-07-network-scaling-design.md §3.C. */

#define ANCHOR_POOL_MAX   16
#define ANCHOR_SELECT_MAX 4   /* stays 4: the slot budget and POS_MAX_ANCHORS
                                * both assume it. A bigger pool means a better
                                * 4, not a bigger sweep. */

/* An entry not refreshed (by discovery or ANNOUNCE) within this long is
 * dropped. Without this the pool never invalidates an entry, which is what
 * let the tag report anchors it could no longer reach while emitting no fix
 * at all (CLAUDE.md, sweep-gate entry) -- a bigger pool makes that easier to
 * hit, not harder, so eviction on staleness is required at this size. */
#define ANCHOR_ENTRY_STALE_MS 300000u

struct anchor_pool_entry {
    uint8_t  id;
    float    ema_score;         /* CIR-power + quality composite, higher is better */
    float    x, y, z;           /* announce-learned position; z may be NaN */
    bool     have_pos;
    bool     valid;
    bool     seen;              /* refreshed this round; cleared by anchor_pool_begin_round() */
    uint32_t last_seen_ms;
};

struct anchor_pool {
    struct anchor_pool_entry entries[ANCHOR_POOL_MAX];
};

void anchor_pool_init(struct anchor_pool *p);

/* Clear the transient "seen this round" flag ahead of a discovery round. */
void anchor_pool_begin_round(struct anchor_pool *p);

/* Discovery response: EMA-update an existing entry's score, or insert a new
 * one. Pool full -> evicts the lowest-scoring valid entry. */
void anchor_pool_observe_score(struct anchor_pool *p, uint8_t id, float score,
                               uint32_t now_ms);

/* ANNOUNCE: seed/refresh an anchor's learned position. Does not evict an
 * existing (CIR-ranked) entry to make room -- a geometry-only entry has no
 * ranging value yet, so it is only inserted when a free slot exists. z may
 * be NaN (anchor did not report a height); passed through unchanged. */
void anchor_pool_observe_pos(struct anchor_pool *p, uint8_t id,
                             float x, float y, float z, uint32_t now_ms);

/* Decay the score of every valid entry not marked seen this round. */
void anchor_pool_decay_missed(struct anchor_pool *p);

/* Drop entries not seen (by either observe call) within ANCHOR_ENTRY_STALE_MS. */
void anchor_pool_expire_stale(struct anchor_pool *p, uint32_t now_ms);

/* Top-N valid entries by ema_score descending, N = min(live count, max_out).
 * Never returns more anchors than are actually live in the pool. Returns the
 * count written to out. */
uint8_t anchor_pool_select(const struct anchor_pool *p, uint8_t *out, uint8_t max_out);

uint8_t anchor_pool_live_count(const struct anchor_pool *p);

#endif /* ANCHOR_POOL_CORE_H */
```

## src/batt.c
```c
#include <zephyr/kernel.h>
#include <zephyr/drivers/sensor.h>
#include <zephyr/drivers/sensor/npm13xx_charger.h>
#include "batt.h"
#include "batt_curve.h"
#include "batt_window.h"

static const struct device *fg = DEVICE_DT_GET(DT_NODELABEL(npm1304_charger));

/* True while the charger is plugged in. This attribute does its own register
 * read, so it needs no preceding sensor_sample_fetch(). If the query fails,
 * report "not charging": a possibly-inflated percentage beats none at all. */
static bool vbus_present(void)
{
    struct sensor_value val;

    if (sensor_attr_get(fg, (enum sensor_channel)SENSOR_CHAN_NPM13XX_CHARGER_VBUS_STATUS,
                        (enum sensor_attribute)SENSOR_ATTR_NPM13XX_CHARGER_VBUS_PRESENT,
                        &val) < 0) {
        return false;
    }

    return val.val1 != 0;
}

static int batt_read_millivolts(int *mv)
{
    struct sensor_value val;

    if (!device_is_ready(fg)) {
        return -ENODEV;
    }
    if (sensor_sample_fetch(fg) < 0) {
        return -EIO;
    }
    if (sensor_channel_get(fg, SENSOR_CHAN_GAUGE_VOLTAGE, &val) < 0) {
        return -EIO;
    }

    *mv = (val.val1 * 1000) + (val.val2 / 1000);
    return 0;
}

int batt_read_soc(int *soc)
{
    int mv;
    int err;

    if (soc == NULL) {
        return -EINVAL;
    }
    if (!device_is_ready(fg)) {
        return -ENODEV;
    }

    /* While charging, the terminal voltage is driven by the charger, not by
     * the cell's state — mapping it through the curve would report near-full
     * for a half-empty battery. Say "charging" instead of lying. */
    if (vbus_present()) {
        return -EBUSY;
    }

    err = batt_read_millivolts(&mv);
    if (err != 0) {
        return err;
    }

    *soc = lipo_mv_to_pct(mv);
    return 0;
}

int batt_read_current(int *ma)
{
    struct sensor_value val;

    if (ma == NULL) {
        return -EINVAL;
    }
    if (!device_is_ready(fg)) {
        return -ENODEV;
    }
    if (sensor_sample_fetch(fg) < 0) {
        return -EIO;
    }
    if (sensor_channel_get(fg, SENSOR_CHAN_GAUGE_AVG_CURRENT, &val) < 0) {
        return -EIO;
    }

    /* Zephyr current units: val1 = whole amps, val2 = microamp fraction. */
    long ua  = (long)val.val1 * 1000000L + val.val2;
    long mma = ua / 1000L;
    *ma = (int)(mma < 0 ? -mma : mma);
    return 0;
}

/* One sample per minute. The quantity moves over hours, so 5 s was buying no
 * resolution and cost twelve MCU wakes and twelve I2C transactions a minute --
 * the second-highest periodic wake in the system once the runner starts
 * skipping superframes. The idle-current window accumulates per *sample*
 * (batt_window.c), not per second, so its min/mean/max stay valid; only the
 * `n` reported by `pwr idle` gets smaller for the same wall-clock period. */
#define BATT_SAMPLE_MS 60000

static struct batt_window idle_win;
static volatile bool      batt_connected;

/* Written by batt_work_fn on the system workqueue, read by any thread. A plain
 * volatile byte is sufficient: single-byte loads and stores are atomic on this
 * core, there is exactly one writer, and a reader that catches the previous
 * sample is harmless — the value is a percentage that moves over minutes.
 *
 * 0xFF is the "no reading" value. It is written as a literal rather than as
 * UWB_FRAME_POS_SOC_CONNECTED on purpose: the battery module must not depend on
 * the UWB wire format. The two definitions must agree, and the POS frame's
 * choice of sentinel was made to match this one — if either changes, change
 * both. */
static volatile uint8_t batt_soc_cache = 0xFF;

uint8_t batt_soc_cached(void)
{
    return batt_soc_cache;
}

static void batt_work_fn(struct k_work *work)
{
    ARG_UNUSED(work);

    /* Refresh the SoC cache first, and unconditionally: the current read below
     * returns early when there is no gauge or no battery, and doing this after
     * that early return would leave the cache stuck at 0xFF forever. */
    int soc;
    if (batt_read_soc(&soc) == 0 && soc >= 0 && soc <= 100) {
        batt_soc_cache = (uint8_t)soc;
    } else {
        /* Includes -EBUSY, which means the charger is connected and terminal
         * voltage says nothing about charge. Report unknown, never a guess. */
        batt_soc_cache = 0xFF;
    }

    int ma;
    if (batt_read_current(&ma) != 0) {
        return;   /* no gauge / no battery: skip this tick */
    }

    /* Only accumulate while BLE is off: a live connection adds the BLE radio's
     * current and would skew the field-current estimate. The window is read on
     * demand via batt_get_idle_window() (the `pwr idle` command). */
    if (!batt_connected) {
        batt_window_add(&idle_win, ma);
    }
}

K_WORK_DEFINE(batt_work, batt_work_fn);

static void batt_timer_fn(struct k_timer *t)
{
    ARG_UNUSED(t);
    k_work_submit(&batt_work);   /* gauge I2C reads must not run in timer ISR */
}

K_TIMER_DEFINE(batt_timer, batt_timer_fn, NULL);

void batt_monitor_start(void)
{
    batt_window_reset(&idle_win);
    k_timer_start(&batt_timer, K_MSEC(BATT_SAMPLE_MS), K_MSEC(BATT_SAMPLE_MS));
}

void batt_on_ble_state(ble_state_t state)
{
    if (state == BLE_STATE_CONNECTED) {
        batt_connected = true;   /* stop accumulating; window holds the just-
                                  * finished disconnected period for `pwr idle` */
    } else if (batt_connected) {
        /* Only on the CONNECTED -> disconnected edge. Resetting on *every*
         * non-CONNECTED callback was harmless while the tag advertised from
         * boot (ADVERTISING fired once and never again), but advertising is
         * now opened by the button press -- and that press is necessarily the
         * step before every `pwr idle` read. Resetting here wiped the window
         * being asked for, so `pwr idle` always answered `none`. The tag now
         * accumulates from boot until the first connection.
         *
         * Cost: the 60 s advertising window is disconnected-but-advertising
         * and its ~20 uA is folded into the "idle" figure. Below the gauge's
         * resolution, and far better than reporting nothing. */
        batt_connected = false;
        batt_window_reset(&idle_win);   /* start a fresh disconnected window */
    }
}

int batt_get_idle_window(int *mean_ma, int *min_ma, int *max_ma, uint32_t *count)
{
    /* batt_window_get order is (min, mean, max, count). */
    return batt_window_get(&idle_win, min_ma, mean_ma, max_ma, count);
}
```

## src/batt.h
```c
#ifndef BATT_H_
#define BATT_H_

#include <stdint.h>

/* Read battery state of charge as a percentage (0-100), estimated from the
 * cell voltage via the LiPo discharge curve in batt_curve.h.
 *
 * Returns 0 on success; -EBUSY while the charger is connected (the terminal
 * voltage then says nothing about the charge, so no percentage is produced);
 * -ENODEV / -EIO / -EINVAL otherwise.
 *
 * This is an estimate, not a fuel gauge: in the 3700-3850 mV plateau, where
 * roughly half the capacity lives, expect around +/-10 percentage points. A
 * true reading would need the nRF Fuel Gauge library plus a battery model
 * profiled from this exact cell. */
int batt_read_soc(int *soc);

/* Last state of charge sampled by the periodic monitor: 0-100, or 0xFF when no
 * reading is available (charger connected, or gauge error). Non-blocking — safe
 * to call from timing-critical paths, unlike batt_read_soc(). Returns 0xFF
 * until batt_monitor_start() has run at least once. */
uint8_t batt_soc_cached(void);

/* Read average battery current in milliamps (discharge as a positive
 * magnitude). Returns 0 on success; negative errno on failure. */
int batt_read_current(int *ma);

#include "ble_log.h"

/* Start the periodic current-sampling timer (call once after BLE is up). */
void batt_monitor_start(void);

/* Feed BLE connection state: while disconnected the current is sampled into
 * the idle window; on disconnect the window is reset to start a fresh one.
 * Call from the BLE state callback. */
void batt_on_ble_state(ble_state_t state);

/* Read the disconnected-window current stats (mA): mean/min/max over the
 * samples collected while BLE was disconnected. Returns 1 if at least one
 * sample exists (out params written), else 0. Read on demand (e.g. the
 * `pwr idle` command) AFTER reconnecting and subscribing to notifications. */
int batt_get_idle_window(int *mean_ma, int *min_ma, int *max_ma, uint32_t *count);

#endif /* BATT_H_ */
```

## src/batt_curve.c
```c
#include "batt_curve.h"

/* Resting open-circuit voltage of a standard lithium-polymer cell (4.2 V full,
 * 3.7 V nominal, ~3.5 V empty), ascending by voltage. Note how little the
 * voltage moves between 20% and 60% — that flat middle is the cell's real
 * behaviour, and the reason this estimate is coarse there. */
static const struct {
    short mv;
    signed char pct;
} curve[] = {
    {3500,   0}, {3610,   5}, {3690,  10}, {3710,  15}, {3730,  20},
    {3750,  25}, {3770,  30}, {3790,  35}, {3800,  40}, {3820,  45},
    {3840,  50}, {3850,  55}, {3870,  60}, {3910,  65}, {3950,  70},
    {3980,  75}, {4020,  80}, {4080,  85}, {4110,  90}, {4150,  95},
    {4200, 100},
};

#define CURVE_N ((int)(sizeof(curve) / sizeof(curve[0])))

int lipo_mv_to_pct(int mv)
{
    if (mv <= curve[0].mv) {
        return 0;
    }
    if (mv >= curve[CURVE_N - 1].mv) {
        return 100;
    }

    for (int i = 1; i < CURVE_N; i++) {
        if (mv < curve[i].mv) {
            int dv   = curve[i].mv  - curve[i - 1].mv;
            int dpct = curve[i].pct - curve[i - 1].pct;

            return curve[i - 1].pct + ((mv - curve[i - 1].mv) * dpct) / dv;
        }
    }

    return 100;   /* not reached: the top of the curve is handled above */
}
```

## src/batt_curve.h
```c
#ifndef BATT_CURVE_H_
#define BATT_CURVE_H_

/* Map a resting LiPo terminal voltage (millivolts) to a state-of-charge
 * percentage (0-100), by linear interpolation over a standard lithium-polymer
 * discharge curve: 4200 mV = full, 3500 mV = empty.
 *
 * Pure function, no device access — see tests/batt_curve/.
 *
 * Accuracy: about half the cell's usable capacity sits between 3700 and
 * 3850 mV, so in that plateau ~30 mV of error (load sag, ADC resolution) is
 * worth ~10 percentage points. Faithful near the extremes, coarse in the
 * middle. Inherent to voltage-only estimation.
 *
 * Voltages outside the curve saturate: >= 4200 returns 100, <= 3500 returns 0.
 * Only meaningful for a resting cell — a charging cell reads high. */
int lipo_mv_to_pct(int mv);

#endif /* BATT_CURVE_H_ */
```

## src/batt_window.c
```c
#include "batt_window.h"

void batt_window_reset(struct batt_window *w)
{
    w->min_ma = 0;
    w->max_ma = 0;
    w->sum_ma = 0;
    w->count  = 0;
}

void batt_window_add(struct batt_window *w, int ma)
{
    if (w->count == 0) {
        w->min_ma = ma;
        w->max_ma = ma;
    } else {
        if (ma < w->min_ma) { w->min_ma = ma; }
        if (ma > w->max_ma) { w->max_ma = ma; }
    }
    w->sum_ma += ma;
    w->count++;
}

int batt_window_get(const struct batt_window *w,
                    int *min_ma, int *mean_ma, int *max_ma, uint32_t *count)
{
    if (w->count == 0) {
        return 0;
    }
    if (min_ma)  { *min_ma  = w->min_ma; }
    if (max_ma)  { *max_ma  = w->max_ma; }
    if (mean_ma) { *mean_ma = (int)(w->sum_ma / (long)w->count); }
    if (count)   { *count   = w->count; }
    return 1;
}
```

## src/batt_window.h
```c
#ifndef BATT_WINDOW_H_
#define BATT_WINDOW_H_

#include <stdint.h>

struct batt_window {
    int      min_ma;
    int      max_ma;
    long     sum_ma;
    uint32_t count;
};

void batt_window_reset(struct batt_window *w);
void batt_window_add(struct batt_window *w, int ma);
int  batt_window_get(const struct batt_window *w,
                     int *min_ma, int *mean_ma, int *max_ma, uint32_t *count);

#endif /* BATT_WINDOW_H_ */
```
